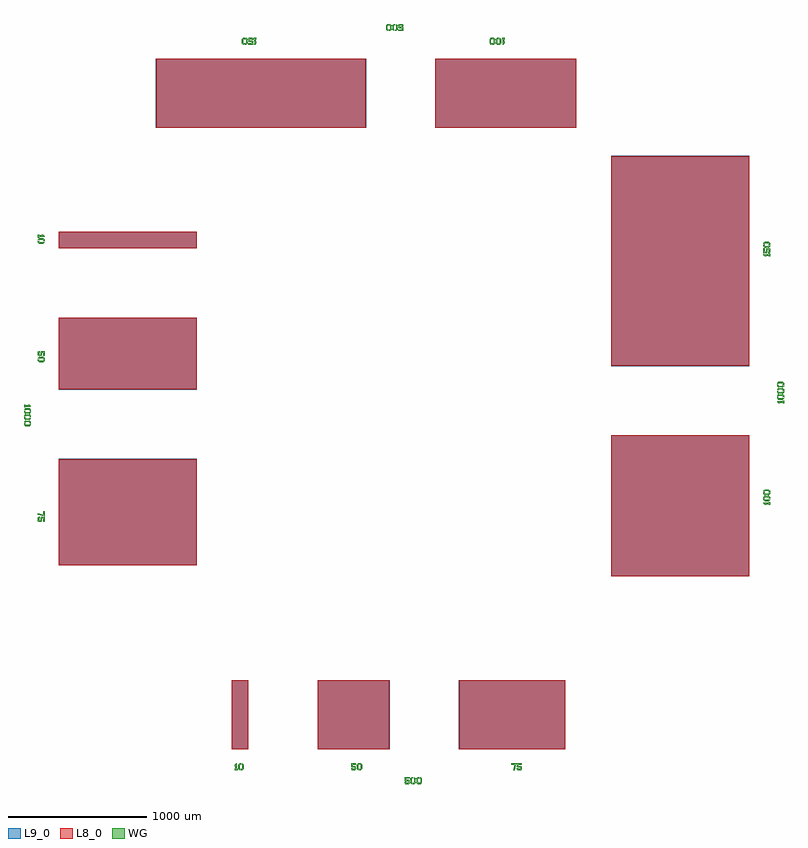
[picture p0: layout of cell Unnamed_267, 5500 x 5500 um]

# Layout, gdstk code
from math import pi, radians
import gdstk
lib = gdstk.Library(unit=1e-6, precision=1e-09)
def R(c, l, rs):  # rectangles x0, y0, x1, y1
    for r in rs: c.add(gdstk.rectangle(r[:2], r[2:], *l))
def P(c, l, *ps):  # polygons
    for p in ps: c.add(gdstk.Polygon(p, *l))
WG = (1, 0)
L8_0 = (8, 0)
L9_0 = (9, 0)

rectangle_s1522_1000_l9_ = lib.new_cell('rectangle_S1522_1000_L9_b6fc3a18')
R(rectangle_s1522_1000_l9_, L9_0, [(0,0,1522,1000)])

text_t150_s50_p0_0_jleft = lib.new_cell('text_T150_S50_P0_0_Jleft_L1_0')
P(text_t150_s50_p0_0_jleft, WG, [(88.5,0),(91,10),(95,10),(100,15),(100,35),(95,40),(97.5,50),(100,50),(110,40),(110,10),(100,0)],
  [(80,0),(70,10),(70,40),(80,50),(91.5,50),(89,40),(85,40),(80,35),(80,15),(85,10),(82.5,0)],
  [(35,0),(30,5),(30,15),(40,15),(40,10),(55,10),(55,20),(35,20),(30,25),(30,50),(65,50),(65,40),(40,40),(40,30),(60,30),(65,25),(65,5),(60,0)],
  [(5,0),(5,10),(10,10),(10,30),(5,30),(5,40),(15,50),(20,50),(20,10),(25,10),(25,0)])

rectangle_s150_1000_l8__ = lib.new_cell('rectangle_S150_1000_L8__8951bea8')
R(rectangle_s150_1000_l8__, L8_0, [(0,0,150,1000)])

unnamed_256 = lib.new_cell('Unnamed_256')
unnamed_256.add(gdstk.Reference(rectangle_s1522_1000_l9_, (-247.455,0)))
unnamed_256.add(gdstk.Reference(text_t150_s50_p0_0_jleft, (540.545,-150)))
unnamed_256.add(gdstk.Reference(rectangle_s150_1000_l8__, (-245.455,0)))
unnamed_256.add(gdstk.Reference(rectangle_s150_1000_l8__, (-93.455,0)))
unnamed_256.add(gdstk.Reference(rectangle_s150_1000_l8__, (58.545,0)))
unnamed_256.add(gdstk.Reference(rectangle_s150_1000_l8__, (210.545,0)))
unnamed_256.add(gdstk.Reference(rectangle_s150_1000_l8__, (362.545,0)))
unnamed_256.add(gdstk.Reference(rectangle_s150_1000_l8__, (514.545,0)))
unnamed_256.add(gdstk.Reference(rectangle_s150_1000_l8__, (666.545,0)))
unnamed_256.add(gdstk.Reference(rectangle_s150_1000_l8__, (818.545,0)))
unnamed_256.add(gdstk.Reference(rectangle_s150_1000_l8__, (970.545,0)))
unnamed_256.add(gdstk.Reference(rectangle_s150_1000_l8__, (1122.545,0)))

text_t1000_s50_p0_0_jlef = lib.new_cell('text_T1000_S50_P0_0_Jleft_L1_0')
P(text_t1000_s50_p0_0_jlef, WG, [(48.5,0),(51,10),(55,10),(60,15),(60,35),(55,40),(57.5,50),(60,50),(70,40),(70,10),(60,0)],
  [(93.5,0),(96,10),(100,10),(105,15),(105,35),(100,40),(102.5,50),(105,50),(115,40),(115,10),(105,0)],
  [(138.5,0),(141,10),(145,10),(150,15),(150,35),(145,40),(147.5,50),(150,50),(160,40),(160,10),(150,0)],
  [(40,0),(30,10),(30,40),(40,50),(51.5,50),(49,40),(45,40),(40,35),(40,15),(45,10),(42.5,0)],
  [(85,0),(75,10),(75,40),(85,50),(96.5,50),(94,40),(90,40),(85,35),(85,15),(90,10),(87.5,0)],
  [(130,0),(120,10),(120,40),(130,50),(141.5,50),(139,40),(135,40),(130,35),(130,15),(135,10),(132.5,0)],
  [(5,0),(5,10),(10,10),(10,30),(5,30),(5,40),(15,50),(20,50),(20,10),(25,10),(25,0)])

rectangle_s1022_1000_l9_ = lib.new_cell('rectangle_S1022_1000_L9_34ee5ec5')
R(rectangle_s1022_1000_l9_, L9_0, [(0,0,1022,1000)])

text_t100_s50_p0_0_jleft = lib.new_cell('text_T100_S50_P0_0_Jleft_L1_0')
P(text_t100_s50_p0_0_jleft, WG, [(48.5,0),(51,10),(55,10),(60,15),(60,35),(55,40),(57.5,50),(60,50),(70,40),(70,10),(60,0)],
  [(93.5,0),(96,10),(100,10),(105,15),(105,35),(100,40),(102.5,50),(105,50),(115,40),(115,10),(105,0)],
  [(40,0),(30,10),(30,40),(40,50),(51.5,50),(49,40),(45,40),(40,35),(40,15),(45,10),(42.5,0)],
  [(85,0),(75,10),(75,40),(85,50),(96.5,50),(94,40),(90,40),(85,35),(85,15),(90,10),(87.5,0)],
  [(5,0),(5,10),(10,10),(10,30),(5,30),(5,40),(15,50),(20,50),(20,10),(25,10),(25,0)])

rectangle_s100_1000_l8__ = lib.new_cell('rectangle_S100_1000_L8__05f3c08c')
R(rectangle_s100_1000_l8__, L8_0, [(0,0,100,1000)])

unnamed_255 = lib.new_cell('Unnamed_255')
unnamed_255.add(gdstk.Reference(rectangle_s1022_1000_l9_, (-247.455,0)))
unnamed_255.add(gdstk.Reference(text_t100_s50_p0_0_jleft, (265.545,-150)))
unnamed_255.add(gdstk.Reference(rectangle_s100_1000_l8__, (-245.455,0)))
unnamed_255.add(gdstk.Reference(rectangle_s100_1000_l8__, (-143.455,0)))
unnamed_255.add(gdstk.Reference(rectangle_s100_1000_l8__, (-41.455,0)))
unnamed_255.add(gdstk.Reference(rectangle_s100_1000_l8__, (60.545,0)))
unnamed_255.add(gdstk.Reference(rectangle_s100_1000_l8__, (162.545,0)))
unnamed_255.add(gdstk.Reference(rectangle_s100_1000_l8__, (264.545,0)))
unnamed_255.add(gdstk.Reference(rectangle_s100_1000_l8__, (366.545,0)))
unnamed_255.add(gdstk.Reference(rectangle_s100_1000_l8__, (468.545,0)))
unnamed_255.add(gdstk.Reference(rectangle_s100_1000_l8__, (570.545,0)))
unnamed_255.add(gdstk.Reference(rectangle_s100_1000_l8__, (672.545,0)))

unnamed_266 = lib.new_cell('Unnamed_266')
unnamed_266.add(gdstk.Reference(unnamed_256, (3022,0)))
unnamed_266.add(gdstk.Reference(text_t1000_s50_p0_0_jlef, (2500,-250)))
unnamed_266.add(gdstk.Reference(unnamed_255, (1500,0)))

rectangle_s772_1000_l9__ = lib.new_cell('rectangle_S772_1000_L9__6c6e360b')
R(rectangle_s772_1000_l9__, L9_0, [(0,0,772,1000)])

text_t75_s50_p0_0_jleft_ = lib.new_cell('text_T75_S50_P0_0_Jleft_L1_0')
P(text_t75_s50_p0_0_jleft_, WG, [(50,0),(45,5),(45,15),(55,15),(55,10),(70,10),(70,20),(50,20),(45,25),(45,50),(80,50),(80,40),(55,40),(55,30),(75,30),(80,25),(80,5),(75,0)],
  [(20,0),(28,40),(5,40),(5,50),(40,50),(30,0)])

rectangle_s75_1000_l8_0_ = lib.new_cell('rectangle_S75_1000_L8_0_1f6042d1')
R(rectangle_s75_1000_l8_0_, L8_0, [(0,0,75,1000)])

unnamed_254 = lib.new_cell('Unnamed_254')
unnamed_254.add(gdstk.Reference(rectangle_s772_1000_l9__, (-247.455,0)))
unnamed_254.add(gdstk.Reference(text_t75_s50_p0_0_jleft_, (128.045,-150)))
unnamed_254.add(gdstk.Reference(rectangle_s75_1000_l8_0_, (-245.455,0)))
unnamed_254.add(gdstk.Reference(rectangle_s75_1000_l8_0_, (-168.455,0)))
unnamed_254.add(gdstk.Reference(rectangle_s75_1000_l8_0_, (-91.455,0)))
unnamed_254.add(gdstk.Reference(rectangle_s75_1000_l8_0_, (-14.455,0)))
unnamed_254.add(gdstk.Reference(rectangle_s75_1000_l8_0_, (62.545,0)))
unnamed_254.add(gdstk.Reference(rectangle_s75_1000_l8_0_, (139.545,0)))
unnamed_254.add(gdstk.Reference(rectangle_s75_1000_l8_0_, (216.545,0)))
unnamed_254.add(gdstk.Reference(rectangle_s75_1000_l8_0_, (293.545,0)))
unnamed_254.add(gdstk.Reference(rectangle_s75_1000_l8_0_, (370.545,0)))
unnamed_254.add(gdstk.Reference(rectangle_s75_1000_l8_0_, (447.545,0)))

rectangle_s522_1000_l9__ = lib.new_cell('rectangle_S522_1000_L9__e8a8a2df')
R(rectangle_s522_1000_l9__, L9_0, [(0,0,522,1000)])

text_t50_s50_p0_0_jleft_ = lib.new_cell('text_T50_S50_P0_0_Jleft_L1_0')
P(text_t50_s50_p0_0_jleft_, WG, [(63.5,0),(66,10),(70,10),(75,15),(75,35),(70,40),(72.5,50),(75,50),(85,40),(85,10),(75,0)],
  [(55,0),(45,10),(45,40),(55,50),(66.5,50),(64,40),(60,40),(55,35),(55,15),(60,10),(57.5,0)],
  [(10,0),(5,5),(5,15),(15,15),(15,10),(30,10),(30,20),(10,20),(5,25),(5,50),(40,50),(40,40),(15,40),(15,30),(35,30),(40,25),(40,5),(35,0)])

rectangle_s50_1000_l8_0_ = lib.new_cell('rectangle_S50_1000_L8_0_be2a9c9e')
R(rectangle_s50_1000_l8_0_, L8_0, [(0,0,50,1000)])

unnamed_253 = lib.new_cell('Unnamed_253')
unnamed_253.add(gdstk.Reference(rectangle_s522_1000_l9__, (-247.455,0)))
unnamed_253.add(gdstk.Reference(text_t50_s50_p0_0_jleft_, (-9.455,-150)))
unnamed_253.add(gdstk.Reference(rectangle_s50_1000_l8_0_, (-245.455,0)))
unnamed_253.add(gdstk.Reference(rectangle_s50_1000_l8_0_, (-193.455,0)))
unnamed_253.add(gdstk.Reference(rectangle_s50_1000_l8_0_, (-141.455,0)))
unnamed_253.add(gdstk.Reference(rectangle_s50_1000_l8_0_, (-89.455,0)))
unnamed_253.add(gdstk.Reference(rectangle_s50_1000_l8_0_, (-37.455,0)))
unnamed_253.add(gdstk.Reference(rectangle_s50_1000_l8_0_, (14.545,0)))
unnamed_253.add(gdstk.Reference(rectangle_s50_1000_l8_0_, (66.545,0)))
unnamed_253.add(gdstk.Reference(rectangle_s50_1000_l8_0_, (118.545,0)))
unnamed_253.add(gdstk.Reference(rectangle_s50_1000_l8_0_, (170.545,0)))
unnamed_253.add(gdstk.Reference(rectangle_s50_1000_l8_0_, (222.545,0)))

rectangle_s122_1000_l9__ = lib.new_cell('rectangle_S122_1000_L9__1de77251')
R(rectangle_s122_1000_l9__, L9_0, [(0,0,122,1000)])

text_t10_s50_p0_0_jleft_ = lib.new_cell('text_T10_S50_P0_0_Jleft_L1_0')
P(text_t10_s50_p0_0_jleft_, WG, [(48.5,0),(51,10),(55,10),(60,15),(60,35),(55,40),(57.5,50),(60,50),(70,40),(70,10),(60,0)],
  [(40,0),(30,10),(30,40),(40,50),(51.5,50),(49,40),(45,40),(40,35),(40,15),(45,10),(42.5,0)],
  [(5,0),(5,10),(10,10),(10,30),(5,30),(5,40),(15,50),(20,50),(20,10),(25,10),(25,0)])

rectangle_s10_1000_l8_0_ = lib.new_cell('rectangle_S10_1000_L8_0_7ec81926')
R(rectangle_s10_1000_l8_0_, L8_0, [(0,0,10,1000)])

unnamed_252 = lib.new_cell('Unnamed_252')
unnamed_252.add(gdstk.Reference(rectangle_s122_1000_l9__, (-247.455,0)))
unnamed_252.add(gdstk.Reference(text_t10_s50_p0_0_jleft_, (-229.455,-150)))
unnamed_252.add(gdstk.Reference(rectangle_s10_1000_l8_0_, (-245.455,0)))
unnamed_252.add(gdstk.Reference(rectangle_s10_1000_l8_0_, (-233.455,0)))
unnamed_252.add(gdstk.Reference(rectangle_s10_1000_l8_0_, (-221.455,0)))
unnamed_252.add(gdstk.Reference(rectangle_s10_1000_l8_0_, (-209.455,0)))
unnamed_252.add(gdstk.Reference(rectangle_s10_1000_l8_0_, (-197.455,0)))
unnamed_252.add(gdstk.Reference(rectangle_s10_1000_l8_0_, (-185.455,0)))
unnamed_252.add(gdstk.Reference(rectangle_s10_1000_l8_0_, (-173.455,0)))
unnamed_252.add(gdstk.Reference(rectangle_s10_1000_l8_0_, (-161.455,0)))
unnamed_252.add(gdstk.Reference(rectangle_s10_1000_l8_0_, (-149.455,0)))
unnamed_252.add(gdstk.Reference(rectangle_s10_1000_l8_0_, (-137.455,0)))

unnamed_265 = lib.new_cell('Unnamed_265')
unnamed_265.add(gdstk.Reference(text_t1000_s50_p0_0_jlef, (2500,-250)))
unnamed_265.add(gdstk.Reference(unnamed_254, (3144,0)))
unnamed_265.add(gdstk.Reference(unnamed_253, (2122,0)))
unnamed_265.add(gdstk.Reference(unnamed_252, (1500,0)))

text_t500_s50_p0_0_jleft = lib.new_cell('text_T500_S50_P0_0_Jleft_L1_0')
P(text_t500_s50_p0_0_jleft, WG, [(63.5,0),(66,10),(70,10),(75,15),(75,35),(70,40),(72.5,50),(75,50),(85,40),(85,10),(75,0)],
  [(108.5,0),(111,10),(115,10),(120,15),(120,35),(115,40),(117.5,50),(120,50),(130,40),(130,10),(120,0)],
  [(55,0),(45,10),(45,40),(55,50),(66.5,50),(64,40),(60,40),(55,35),(55,15),(60,10),(57.5,0)],
  [(100,0),(90,10),(90,40),(100,50),(111.5,50),(109,40),(105,40),(100,35),(100,15),(105,10),(102.5,0)],
  [(10,0),(5,5),(5,15),(15,15),(15,10),(30,10),(30,20),(10,20),(5,25),(5,50),(40,50),(40,40),(15,40),(15,30),(35,30),(40,25),(40,5),(35,0)])

rectangle_s1522_500_l9__ = lib.new_cell('rectangle_S1522_500_L9__e665eb4e')
R(rectangle_s1522_500_l9__, L9_0, [(0,0,1522,500)])

rectangle_s150_500_l8_0_ = lib.new_cell('rectangle_S150_500_L8_0_a809281c')
R(rectangle_s150_500_l8_0_, L8_0, [(0,0,150,500)])

unnamed_251 = lib.new_cell('Unnamed_251')
unnamed_251.add(gdstk.Reference(rectangle_s1522_500_l9__, (-247.455,0)))
unnamed_251.add(gdstk.Reference(text_t150_s50_p0_0_jleft, (540.545,-150)))
unnamed_251.add(gdstk.Reference(rectangle_s150_500_l8_0_, (-245.455,0)))
unnamed_251.add(gdstk.Reference(rectangle_s150_500_l8_0_, (-93.455,0)))
unnamed_251.add(gdstk.Reference(rectangle_s150_500_l8_0_, (58.545,0)))
unnamed_251.add(gdstk.Reference(rectangle_s150_500_l8_0_, (210.545,0)))
unnamed_251.add(gdstk.Reference(rectangle_s150_500_l8_0_, (362.545,0)))
unnamed_251.add(gdstk.Reference(rectangle_s150_500_l8_0_, (514.545,0)))
unnamed_251.add(gdstk.Reference(rectangle_s150_500_l8_0_, (666.545,0)))
unnamed_251.add(gdstk.Reference(rectangle_s150_500_l8_0_, (818.545,0)))
unnamed_251.add(gdstk.Reference(rectangle_s150_500_l8_0_, (970.545,0)))
unnamed_251.add(gdstk.Reference(rectangle_s150_500_l8_0_, (1122.545,0)))

rectangle_s1022_500_l9__ = lib.new_cell('rectangle_S1022_500_L9__7b66dc4e')
R(rectangle_s1022_500_l9__, L9_0, [(0,0,1022,500)])

rectangle_s100_500_l8_0_ = lib.new_cell('rectangle_S100_500_L8_0_4ff10c85')
R(rectangle_s100_500_l8_0_, L8_0, [(0,0,100,500)])

unnamed_250 = lib.new_cell('Unnamed_250')
unnamed_250.add(gdstk.Reference(rectangle_s1022_500_l9__, (-247.455,0)))
unnamed_250.add(gdstk.Reference(text_t100_s50_p0_0_jleft, (265.545,-150)))
unnamed_250.add(gdstk.Reference(rectangle_s100_500_l8_0_, (-245.455,0)))
unnamed_250.add(gdstk.Reference(rectangle_s100_500_l8_0_, (-143.455,0)))
unnamed_250.add(gdstk.Reference(rectangle_s100_500_l8_0_, (-41.455,0)))
unnamed_250.add(gdstk.Reference(rectangle_s100_500_l8_0_, (60.545,0)))
unnamed_250.add(gdstk.Reference(rectangle_s100_500_l8_0_, (162.545,0)))
unnamed_250.add(gdstk.Reference(rectangle_s100_500_l8_0_, (264.545,0)))
unnamed_250.add(gdstk.Reference(rectangle_s100_500_l8_0_, (366.545,0)))
unnamed_250.add(gdstk.Reference(rectangle_s100_500_l8_0_, (468.545,0)))
unnamed_250.add(gdstk.Reference(rectangle_s100_500_l8_0_, (570.545,0)))
unnamed_250.add(gdstk.Reference(rectangle_s100_500_l8_0_, (672.545,0)))

unnamed_264 = lib.new_cell('Unnamed_264')
unnamed_264.add(gdstk.Reference(text_t500_s50_p0_0_jleft, (2500,-250)))
unnamed_264.add(gdstk.Reference(unnamed_251, (3022,0)))
unnamed_264.add(gdstk.Reference(unnamed_250, (1500,0)))

rectangle_s772_500_l9_0_ = lib.new_cell('rectangle_S772_500_L9_0_f8fbfb8e')
R(rectangle_s772_500_l9_0_, L9_0, [(0,0,772,500)])

rectangle_s75_500_l8_0__ = lib.new_cell('rectangle_S75_500_L8_0__8323fceb')
R(rectangle_s75_500_l8_0__, L8_0, [(0,0,75,500)])

unnamed_249 = lib.new_cell('Unnamed_249')
unnamed_249.add(gdstk.Reference(rectangle_s772_500_l9_0_, (-247.455,0)))
unnamed_249.add(gdstk.Reference(text_t75_s50_p0_0_jleft_, (128.045,-150)))
unnamed_249.add(gdstk.Reference(rectangle_s75_500_l8_0__, (-245.455,0)))
unnamed_249.add(gdstk.Reference(rectangle_s75_500_l8_0__, (-168.455,0)))
unnamed_249.add(gdstk.Reference(rectangle_s75_500_l8_0__, (-91.455,0)))
unnamed_249.add(gdstk.Reference(rectangle_s75_500_l8_0__, (-14.455,0)))
unnamed_249.add(gdstk.Reference(rectangle_s75_500_l8_0__, (62.545,0)))
unnamed_249.add(gdstk.Reference(rectangle_s75_500_l8_0__, (139.545,0)))
unnamed_249.add(gdstk.Reference(rectangle_s75_500_l8_0__, (216.545,0)))
unnamed_249.add(gdstk.Reference(rectangle_s75_500_l8_0__, (293.545,0)))
unnamed_249.add(gdstk.Reference(rectangle_s75_500_l8_0__, (370.545,0)))
unnamed_249.add(gdstk.Reference(rectangle_s75_500_l8_0__, (447.545,0)))

rectangle_s522_500_l9_0_ = lib.new_cell('rectangle_S522_500_L9_0_2f4601c8')
R(rectangle_s522_500_l9_0_, L9_0, [(0,0,522,500)])

rectangle_s50_500_l8_0__ = lib.new_cell('rectangle_S50_500_L8_0__828c9f47')
R(rectangle_s50_500_l8_0__, L8_0, [(0,0,50,500)])

unnamed_248 = lib.new_cell('Unnamed_248')
unnamed_248.add(gdstk.Reference(rectangle_s522_500_l9_0_, (-247.455,0)))
unnamed_248.add(gdstk.Reference(text_t50_s50_p0_0_jleft_, (-9.455,-150)))
unnamed_248.add(gdstk.Reference(rectangle_s50_500_l8_0__, (-245.455,0)))
unnamed_248.add(gdstk.Reference(rectangle_s50_500_l8_0__, (-193.455,0)))
unnamed_248.add(gdstk.Reference(rectangle_s50_500_l8_0__, (-141.455,0)))
unnamed_248.add(gdstk.Reference(rectangle_s50_500_l8_0__, (-89.455,0)))
unnamed_248.add(gdstk.Reference(rectangle_s50_500_l8_0__, (-37.455,0)))
unnamed_248.add(gdstk.Reference(rectangle_s50_500_l8_0__, (14.545,0)))
unnamed_248.add(gdstk.Reference(rectangle_s50_500_l8_0__, (66.545,0)))
unnamed_248.add(gdstk.Reference(rectangle_s50_500_l8_0__, (118.545,0)))
unnamed_248.add(gdstk.Reference(rectangle_s50_500_l8_0__, (170.545,0)))
unnamed_248.add(gdstk.Reference(rectangle_s50_500_l8_0__, (222.545,0)))

rectangle_s122_500_l9_0_ = lib.new_cell('rectangle_S122_500_L9_0_ffbf6d70')
R(rectangle_s122_500_l9_0_, L9_0, [(0,0,122,500)])

rectangle_s10_500_l8_0__ = lib.new_cell('rectangle_S10_500_L8_0__11fb7823')
R(rectangle_s10_500_l8_0__, L8_0, [(0,0,10,500)])

unnamed_247 = lib.new_cell('Unnamed_247')
unnamed_247.add(gdstk.Reference(rectangle_s122_500_l9_0_, (-247.455,0)))
unnamed_247.add(gdstk.Reference(text_t10_s50_p0_0_jleft_, (-229.455,-150)))
unnamed_247.add(gdstk.Reference(rectangle_s10_500_l8_0__, (-245.455,0)))
unnamed_247.add(gdstk.Reference(rectangle_s10_500_l8_0__, (-233.455,0)))
unnamed_247.add(gdstk.Reference(rectangle_s10_500_l8_0__, (-221.455,0)))
unnamed_247.add(gdstk.Reference(rectangle_s10_500_l8_0__, (-209.455,0)))
unnamed_247.add(gdstk.Reference(rectangle_s10_500_l8_0__, (-197.455,0)))
unnamed_247.add(gdstk.Reference(rectangle_s10_500_l8_0__, (-185.455,0)))
unnamed_247.add(gdstk.Reference(rectangle_s10_500_l8_0__, (-173.455,0)))
unnamed_247.add(gdstk.Reference(rectangle_s10_500_l8_0__, (-161.455,0)))
unnamed_247.add(gdstk.Reference(rectangle_s10_500_l8_0__, (-149.455,0)))
unnamed_247.add(gdstk.Reference(rectangle_s10_500_l8_0__, (-137.455,0)))

unnamed_263 = lib.new_cell('Unnamed_263')
unnamed_263.add(gdstk.Reference(unnamed_249, (3144,0)))
unnamed_263.add(gdstk.Reference(unnamed_248, (2122,0)))
unnamed_263.add(gdstk.Reference(text_t500_s50_p0_0_jleft, (2500,-250)))
unnamed_263.add(gdstk.Reference(unnamed_247, (1500,0)))

unnamed_267 = lib.new_cell('Unnamed_267')
unnamed_267.add(gdstk.Reference(unnamed_266, (5000,0), rotation=pi/2))
unnamed_267.add(gdstk.Reference(unnamed_265, (0,5000), rotation=3*pi/2))
unnamed_267.add(gdstk.Reference(unnamed_264, (5000,5000), rotation=pi))
unnamed_267.add(gdstk.Reference(unnamed_263, (0,0)))

lib.write_gds('Unnamed_267.gds')
